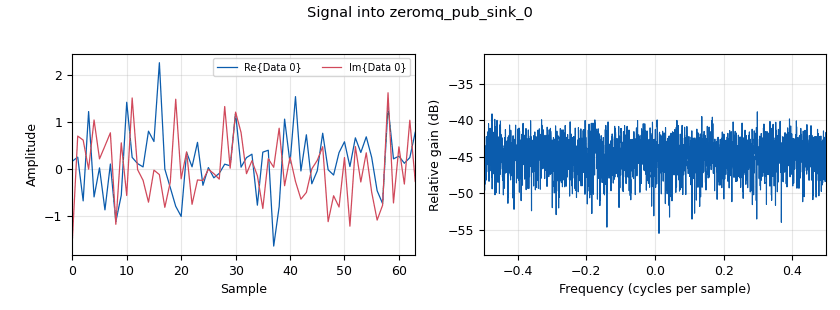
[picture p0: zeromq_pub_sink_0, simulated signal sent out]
options:
  parameters:
    author: Administrator
    generate_options: qt_gui
    id: Transponder
    output_language: python
    title: Not titled yet
  states: {}

blocks:
- name: samp_rate
  id: variable
  parameters:
    value: '32000'
  states: {}
- name: analog_fastnoise_source_x_0
  id: analog_fastnoise_source_x
  parameters:
    amp: '1'
    noise_type: analog.GR_GAUSSIAN
    samples: '8192'
    seed: '0'
    type: complex
  states: {}
- name: blocks_throttle_0
  id: blocks_throttle
  parameters:
    samples_per_second: samp_rate
    type: complex
  states: {}
- name: blocks_throttle_0_0
  id: blocks_throttle
  parameters:
    samples_per_second: samp_rate
    type: complex
  states: {}
- name: qtgui_freq_sink_x_0
  id: qtgui_freq_sink_x
  parameters:
    bw: samp_rate
    fc: '0'
    fftsize: '1024'
    type: complex
  states: {}
- name: zeromq_pub_sink_0
  id: zeromq_pub_sink
  parameters:
    address: tcp://127.0.0.1:6666
    timeout: '100'
    type: complex
  states: {}
- name: zeromq_sub_source_0
  id: zeromq_sub_source
  parameters:
    address: tcp://127.0.0.1:6666
    timeout: '100'
    type: complex
  states: {}

connections:
- [analog_fastnoise_source_x_0, '0', blocks_throttle_0, '0']
- [blocks_throttle_0, '0', zeromq_pub_sink_0, '0']
- [blocks_throttle_0_0, '0', qtgui_freq_sink_x_0, '0']
- [zeromq_sub_source_0, '0', blocks_throttle_0_0, '0']

metadata:
  file_format: 1
